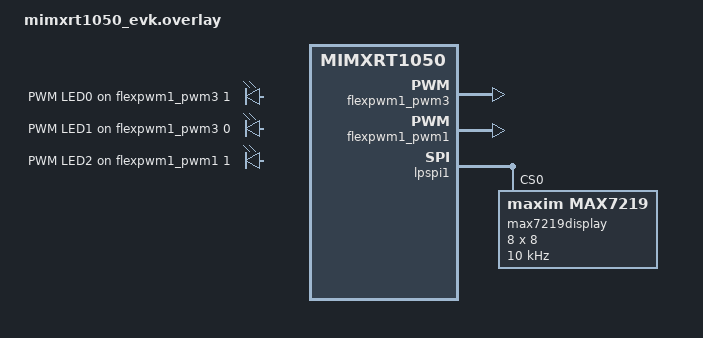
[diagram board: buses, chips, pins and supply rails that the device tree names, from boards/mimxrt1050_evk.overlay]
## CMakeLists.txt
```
# SPDX-License-Identifier: Apache-2.0

cmake_minimum_required(VERSION 3.20.0)
find_package(Zephyr REQUIRED HINTS $ENV{ZEPHYR_BASE})
project(blink_led)

set(CMAKE_C_FLAGS "-Wall")

target_sources(app PRIVATE src/main.c)
```

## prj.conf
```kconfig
CONFIG_BOOT_BANNER=n
CONFIG_DEVICE_SHELL=y
CONFIG_INIT_STACKS=y
CONFIG_KERNEL_SHELL=y
CONFIG_LOG=y
CONFIG_LOG_MODE_IMMEDIATE=y
CONFIG_LOG_PRINTK=y
CONFIG_PRINTK=y
CONFIG_PWM=y
CONFIG_PWM_LOG_LEVEL_DBG=y
CONFIG_SHELL=y
CONFIG_STDOUT_CONSOLE=y
CONFIG_THREAD_MONITOR=y
CONFIG_THREAD_NAME=y
CONFIG_SPI=y
CONFIG_DISPLAY=y
CONFIG_MAX7219=y
```

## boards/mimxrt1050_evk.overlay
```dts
#include <dt-bindings/pwm/pwm.h>

/ {
	aliases {
		pwm-0 = &flexpwm1_pwm3;
		pwm-led0 = &r_led;
	
		pwm-1 = &flexpwm1_pwm3;
		pwm-led1 = &g_led;

		pwm-2 = &flexpwm1_pwm1;
		pwm-led2 = &b_led;
	};

	pwmleds {
		compatible = "pwm-leds";
		r_led: pwmled0 {
				   label = "PWM LED0";
				   pwms = <&flexpwm1_pwm3 1 1000 PWM_POLARITY_NORMAL>;
		};
		
		g_led: pwmled1 {
				   label = "PWM LED1";
				   pwms = <&flexpwm1_pwm3 0 1000 PWM_POLARITY_NORMAL>;
		};
		
		b_led: pwmled2 {
				   label = "PWM LED2";
				   pwms = <&flexpwm1_pwm1 1 1000 PWM_POLARITY_NORMAL>;
		};
	
	};
};

&flexpwm1_pwm3 {
	status = "okay";
};

&flexpwm1_pwm1 {
	status = "okay";
};

&lpspi1 {
	status = "okay";
	max7219display@0 {
		compatible = "maxim,max7219";
		height = <8>;
		width = <8>;
		reg = <0>;
		status = "okay";
		label = "max7219display";
		spi-max-frequency = <10000>;

	};
};
```

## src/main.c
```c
/*
 * Copyright (c) 2016 Intel Corporation
 * Copyright (c) 2020 Nordic Semiconductor ASA
 *
 * SPDX-License-Identifier: Apache-2.0
 */

/**
 * @file Sample app to demonstrate PWM.
 */

#include <zephyr.h>
#include <drivers/gpio.h>
#include <fsl_iomuxc.h>
#include <sys/printk.h>
#include <device.h>
#include <drivers/display.h>
#include <drivers/pwm.h>
#include <zephyr/types.h>
#include <drivers/spi.h>
#include <shell/shell.h>
#include <shell/shell_uart.h>

/* Defining the required macros*/

#define DEBUG 
#define DEC 10
#define HEX 16

/* Defining the required macros using the device tree information*/
#if defined(DEBUG) 
	#define DEBUG(fmt, args...) printk("DEBUG: %s():%d: " fmt, \
   		 __func__, __LINE__, ##args)
#else
 	#define DEBUG(fmt, args...) /* do nothing if not defined*/
#endif

// Setting up Red led
#define PWM_LEDR_NODE	DT_NODELABEL(r_led)

#if DT_NODE_HAS_STATUS(PWM_LEDR_NODE, okay)
#define R_CHANNEL	DT_PWMS_CHANNEL(PWM_LEDR_NODE)
#define PWMR_CTRL   DT_PWMS_CTLR(PWM_LEDR_NODE)
#else
#define R_CHANNEL
#define PWMR_CTRL
#endif

// Setting up green led 
#define PWM_LEDG_NODE	DT_NODELABEL(g_led)

#if DT_NODE_HAS_STATUS(PWM_LEDG_NODE, okay)
#define G_CHANNEL	DT_PWMS_CHANNEL(PWM_LEDG_NODE)
#define PWMG_CTRL   DT_PWMS_CTLR(PWM_LEDG_NODE)
#else
#define G_CHANNEL
#define PWMG_CTRL
#endif

//Setting up blue led
#define PWM_LEDB_NODE	DT_NODELABEL(b_led)

#if DT_NODE_HAS_STATUS(PWM_LEDG_NODE, okay)
#define B_CHANNEL	DT_PWMS_CHANNEL(PWM_LEDB_NODE)
#define PWMB_CTRL   DT_PWMS_CTLR(PWM_LEDB_NODE)	
#else
#define B_CHANNEL
#define PWMB_CTRL
#endif

/* 
 * The handler function for PWM modulation of RGB Led
 */
static int setPwmLed(const struct shell *shell, size_t argc, char **argv)
{
	int x,y,z;
	
	x=atoi(argv[1]);
	y=atoi(argv[2]);
	z=atoi(argv[3]);
	
	int ret1,ret2,ret3;
	const struct device *pwmr, *pwmg, *pwmb;

	// Setting up GPIO pins for PWM modulation.
	IOMUXC_SetPinMux(IOMUXC_GPIO_AD_B0_11_FLEXPWM1_PWMB03, 0);

	IOMUXC_SetPinConfig(IOMUXC_GPIO_AD_B0_11_FLEXPWM1_PWMB03,
			    IOMUXC_SW_PAD_CTL_PAD_PUE(1) |
			    IOMUXC_SW_PAD_CTL_PAD_PKE_MASK |
			    IOMUXC_SW_PAD_CTL_PAD_SPEED(2) |
			    IOMUXC_SW_PAD_CTL_PAD_DSE(6));

	IOMUXC_SetPinMux(IOMUXC_GPIO_AD_B0_10_FLEXPWM1_PWMA03, 0);

	IOMUXC_SetPinConfig(IOMUXC_GPIO_AD_B0_10_FLEXPWM1_PWMA03,
			    IOMUXC_SW_PAD_CTL_PAD_PUE(1) |
			    IOMUXC_SW_PAD_CTL_PAD_PKE_MASK |
			    IOMUXC_SW_PAD_CTL_PAD_SPEED(2) |
			    IOMUXC_SW_PAD_CTL_PAD_DSE(6));

	IOMUXC_SetPinMux(IOMUXC_GPIO_SD_B0_03_FLEXPWM1_PWMB01, 0);

	IOMUXC_SetPinConfig(IOMUXC_GPIO_SD_B0_03_FLEXPWM1_PWMB01,
			    IOMUXC_SW_PAD_CTL_PAD_PUE(1) |
			    IOMUXC_SW_PAD_CTL_PAD_PKE_MASK |
			    IOMUXC_SW_PAD_CTL_PAD_SPEED(2) |
			    IOMUXC_SW_PAD_CTL_PAD_DSE(6));
	
	// Get the pwm device and check if its ready
	char* rLabel=DT_PROP(PWMR_CTRL,label);
	DEBUG("Device node label: %s\n", rLabel);
	pwmr = device_get_binding(rLabel);
	if (!device_is_ready(pwmr)) {
		DEBUG("Error: PWM led %s is not ready\n", pwmr->name);
		return -1;
	}
	
	char* gLabel=DT_PROP(PWMG_CTRL,label);
	DEBUG("Device node label: %s\n", gLabel);
	pwmg = device_get_binding(gLabel);
	if (!device_is_ready(pwmg)) {
		DEBUG("Error: PWM led %s is not ready\n", pwmg->name);
		return -1;
	} 
	
	char* bLabel=DT_PROP(PWMB_CTRL,label);
	DEBUG("Device node label: %s\n", bLabel);
	pwmb = device_get_binding(bLabel);
	if (!device_is_ready(pwmb)) {
		DEBUG("Error: PWM led %s is not ready\n", pwmb->name);
		return -1;
	}
	
	// PWM frquency is set to 50 Hz.
	uint32_t period=20000;
	
	// Setting the duty cycles for each led using the user provided paramenters.
	ret1 = pwm_pin_set_usec(pwmr, R_CHANNEL, period, x*(period/100),0);
	if(ret1){
		DEBUG("Error %d: failed to set pulse width\n", ret1);
		return -1;
	}
	k_usleep(period);
	ret2 = pwm_pin_set_usec(pwmg, G_CHANNEL, period, y*(period/100), 0);
	if(ret2){
		DEBUG("Error %d: failed to set pulse width\n", ret2);
		return -1;
	}
	ret3 = pwm_pin_set_usec(pwmb, B_CHANNEL, period, z*(period/100), 0);
	if(ret3){
		DEBUG("Error %d: failed to set pulse width\n", ret3);
		return -1;
	}
	return 0;
			
}

/* 
 * The handler function for Maxim7219 dot matrix blinking function
 */
static int setLedMatrixBlink(const struct shell *shell, size_t argc, char **argv) {
  // Blinking code here, basically whatever is on will blink
	// uint16_t buffer;
	// int buff_len = sizeof(buffer);

	// struct spi_buf tx_buf_1 = { .buf = &buffer, .len = buff_len };
	// struct spi_buf_set tx_bufs_1 = { .buffers = &tx_buf_1, .count = 1 };
	if (atoi(argv[1]) == 1) {
		// Blinking logic.
	}
	return 0;
}

/* 
 * The handler function for Maxim7219 dot matrix row function
 */
static int setLedMatrixRow(const struct shell *shell, size_t argc, char **argv)
{	
	int cachedDisplayState[8][8];
	memset(cachedDisplayState, 0, sizeof(cachedDisplayState));
	struct device* dev = DEVICE_DT_GET_ANY(maxim_max7219);
	struct display_driver_api* driverApi = (struct display_driverApi*)(dev->api);
	int beginRowNum;

	// Setting the row patterns by manipulting respective bits
	for (size_t row = 1; row < argc; row++) {
		if (row == 1){
			beginRowNum = strtol(argv[1], NULL, DEC);
		} else {
			int row_val = strtol((argv[row])+2, NULL, HEX);
			for (int i=7; i>=0; i--){
				cachedDisplayState[beginRowNum+row-2][i] = row_val%2;
				row_val = row_val / 2;
			}
		}
	}
	// Setting the column patterns by manipulting respective bits
	for (int col_no=0; col_no<8; col_no++){
		uint8_t col_value = 0;
		for (int row_no=0; row_no<8; row_no++){
			col_value += (cachedDisplayState[row_no][col_no] << row_no);
		}
		uint16_t write_value = ((col_no+1) << 8) + col_value;
		driverApi->write(dev, write_value, (void*)NULL, (void*)NULL, (void*)NULL);
	}
	return 0;	
}

/*
 * Creating subcommands directory and registering the root command.
 */
SHELL_STATIC_SUBCMD_SET_CREATE(cmd_parts,
	SHELL_CMD(rgb, NULL, "Sets RGB Led PWM modulation: p2 rgb <duty_cycle1> <duty_cycle2> <duty_cycle3>", setPwmLed),
	SHELL_CMD(ledm, NULL, "Sets the led matrix with row number and data: Eg: p2 ledm 4 0x00 0xff", setLedMatrixRow),
	SHELL_CMD(ledb, NULL, "Sets the led matrix blinking: Eg: p2 ledb 1", setLedMatrixBlink),
	SHELL_SUBCMD_SET_END
);

SHELL_CMD_REGISTER(p2, &cmd_parts, "p2 root command", NULL);

/* Main Function */
void main(void)
{
	DEBUG("AK Main thread");
}
```
